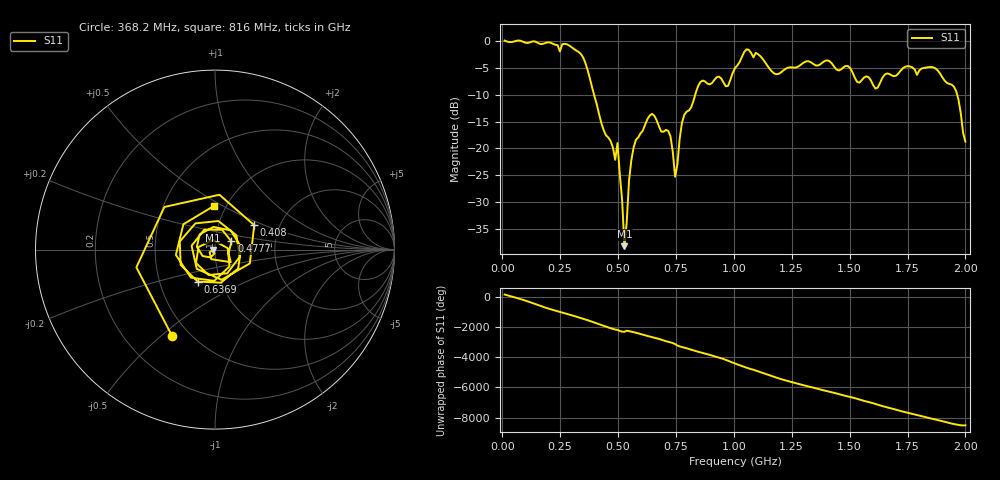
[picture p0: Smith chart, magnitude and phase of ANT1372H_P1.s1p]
!Created with skrf (http://scikit-rf.org).
# Hz S RI R 50.0
!freq ReS11 ImS11
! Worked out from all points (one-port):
!   201 points, 10 MHz to 2 GHz, reference 50 ohm
!   lowest |S11| = -38.2 dB at 527.4 MHz (marker M1), VSWR 1.02, Z = 48.8 - j0.25 ohm
!   |S11| at or under -10 dB: 396.4 MHz to 833.2 MHz (436.8 MHz wide, 71.1 % of centre); 1.964 GHz to end of sweep
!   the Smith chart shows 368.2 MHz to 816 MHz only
!   S11 on the Smith chart (normalised r, x): 368.2 MHz: 0.40, -0.55; 408 MHz: 1.48, +0.43; 477.6 MHz: 1.20, +0.11; 636.9 MHz: 0.78, -0.29; 816 MHz: 0.88, +0.45
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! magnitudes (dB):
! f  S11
! 10 MHz  0.1
! 258.8 MHz  -0.6
! 368.2 MHz  -5.4
! 408 MHz  -11.8
! 477.6 MHz  -19.8
! 487.6 MHz  -22.1
! 497.6 MHz  -19.0
! 507.5 MHz  -24.8
! 527.4 MHz  -38.2
! 547.3 MHz  -26.0
! 567.2 MHz  -19.8
! 636.9 MHz  -13.9
! 716.5 MHz  -16.7
! 746.3 MHz  -25.3
! 756.2 MHz  -22.9
! 776.1 MHz  -15.2
! 816 MHz  -12.3
! 855.8 MHz  -7.6
! 975.1 MHz  -8.3
! 1.005 GHz  -5.1
! 1.055 GHz  -1.5
! 1.174 GHz  -6.0
! 1.254 GHz  -4.9
! 1.502 GHz  -5.1
! 1.612 GHz  -8.9
! 1.751 GHz  -4.7
! 1.95 GHz  -8.5
! 2 GHz  -18.7
